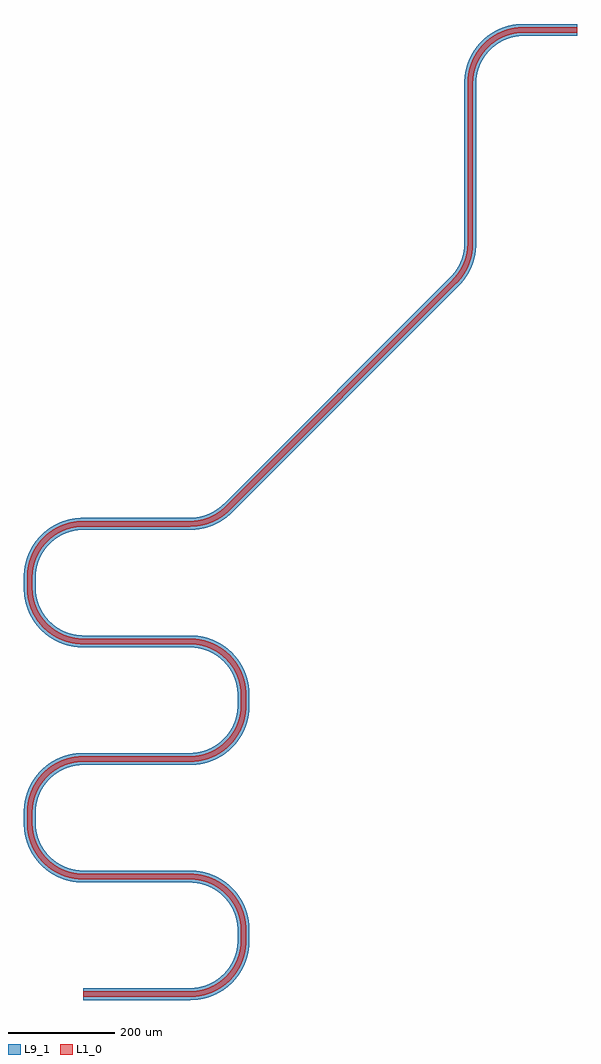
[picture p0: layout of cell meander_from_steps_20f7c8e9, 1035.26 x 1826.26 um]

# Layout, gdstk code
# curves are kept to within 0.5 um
import gdstk
lib = gdstk.Library(unit=1e-6, precision=1e-09)
def P(c, l, *ps):  # polygons
    for p in ps: c.add(gdstk.Polygon(p, *l))
L1_0 = (1, 0)
L9_1 = (9, 1)

meander_from_steps_20f7c = lib.new_cell('meander_from_steps_20f7c8e9')
P(meander_from_steps_20f7c, L1_0, [(200.264,-5),(216.321,-3.724),(231.994,-0.007),(246.914,6.063),(260.73,14.344),(273.306,24.825),(283.941,36.922),(292.602,50.503),(299.083,65.249),(303.034,79.775),(304.88,94.98),(304.88,125.02),(302.661,142.038),(298.083,157.481),(291.065,172.271),(281.833,185.791),(271.002,197.355),(258.774,207.01),(245.251,214.749),(230.733,220.402),(215.799,223.805),(200.529,224.999),(-8.359,225.368),(-23.663,227.994),(-38.115,232.981),(-51.58,240.222),(-63.709,249.529),(-77.839,249.529),(-65.378,237.837),(-50.89,228.156),(-35.249,221.093),(-18.146,216.58),(-1.057,215.005),(209.074,214.566),(224.126,211.886),(238.553,206.826),(252.181,199.386),(264.416,189.826),(272.979,180.82),(280.165,170.976),(286.032,160.293),(290.555,148.719),(293.267,138.064),(294.711,127.406),(294.827,94.264),(293.571,83.582),(291.115,73.11),(287.492,62.983),(282.864,53.539),(277.081,44.47),(270.471,36.291),(262.997,28.891),(254.555,22.226),(243.725,15.66),(231.667,10.433),(219.237,6.968),(206.452,5.219),(0,5),(0,-5)],
  [(-63.887,249.69),(-72.363,258.448),(-79.648,268.219),(-85.518,278.627),(-90.111,289.917),(-93.032,300.763),(-94.632,311.641),(-94.957,342.869),(-94.058,353.348),(-92.006,363.663),(-88.911,373.464),(-84.776,382.873),(-79.648,391.781),(-73.436,400.267),(-66.666,407.681),(-58.776,414.635),(-47.293,422.392),(-35.025,428.308),(-22.038,432.409),(-8.359,434.632),(202.643,435.033),(218.927,436.72),(234.501,440.83),(249.497,447.398),(263.078,456.059),(275.175,466.694),(285.656,479.27),(293.937,493.086),(300.007,508.006),(303.765,523.94),(305,540.003),(295,540.003),(293.571,523.582),(289.243,507.433),(282.153,492.293),(272.672,478.813),(263.532,469.369),(252.779,461.01),(241.157,454.378),(228.719,449.445),(215.239,446.23),(201.913,445.019),(-9.766,444.545),(-24.358,442.136),(-38.958,437.505),(-52.5,430.933),(-64.963,422.491),(-75.175,413.306),(-84.258,402.655),(-91.844,390.89),(-97.893,377.974),(-101.885,365.385),(-104.266,352.394),(-104.999,319.471),(-103.995,305.509),(-101.214,292.059),(-96.804,279.33),(-90.534,266.815),(-84.572,257.77),(-77.839,249.529)],
  [(305,560.003),(303.724,576.321),(299.926,592.246),(293.58,607.622),(285.195,621.375),(274.805,633.683),(262.655,644.258),(248.796,652.973),(233.751,659.428),(218.407,663.374),(202.643,664.967),(-7.644,665.308),(-20.172,667.166),(-32.791,670.839),(-44.783,676.217),(-55.53,682.919),(-69.173,694.884),(-80.421,709.428),(-88.57,725.643),(-93.444,742.876),(-94.923,756.175),(-94.957,782.869),(-93.954,794.058),(-91.575,805.28),(-87.019,818.115),(-80.926,829.76),(-73.132,840.636),(-63.887,850.31),(-77.984,850.31),(-85.195,841.375),(-91.327,831.812),(-96.284,821.885),(-100.246,811.238),(-103.034,800.225),(-104.984,781.85),(-104.96,757.093),(-103.921,744.986),(-101.885,734.615),(-98.818,724.502),(-94.749,714.749),(-89.72,705.454),(-83.941,696.922),(-77.176,688.804),(-69.628,681.406),(-61.375,674.805),(-49.497,667.398),(-36.243,661.453),(-22.296,657.394),(-8.449,655.34),(201.913,654.981),(215.239,653.77),(228.491,650.627),(244.572,643.895),(258.964,634.487),(271.425,622.638),(281.423,608.942),(288.57,594.357),(293.175,578.534),(294.88,564.781),(295,540.003),(305,540.003)],
  [(-63.709,850.471),(-51.58,859.778),(-38.115,867.019),(-23.663,872.006),(-8.836,874.588),(201.061,875.005),(216.897,876.368),(232.346,880.106),(247.291,886.252),(260.683,894.311),(273.113,904.637),(699.071,1330.582),(708.393,1341.436),(716.025,1353.225),(721.423,1364.45),(725.383,1375.98),(727.98,1387.891),(729.189,1400.288),(729.553,1711.67),(731.533,1724.904),(735.103,1737.055),(740.369,1748.836),(747.183,1759.794),(757.598,1771.945),(769.905,1782.175),(783.754,1790.194),(798.754,1795.775),(809.97,1798.183),(821.634,1799.228),(924.264,1799.264),(924.264,1809.264),(822.15,1809.243),(811.608,1808.499),(800.421,1806.521),(782.865,1800.758),(766.369,1791.861),(751.91,1780.356),(739.535,1766.281),(731.662,1753.761),(725.717,1740.507),(721.715,1726.818),(719.563,1712.186),(719.205,1400.906),(718.176,1389.924),(715.817,1378.905),(712.17,1368.242),(707.286,1358.086),(700.093,1347.036),(691.778,1337.429),(266.15,911.815),(253.921,901.785),(239.98,893.822),(224.897,888.32),(209.341,885.46),(-1.057,884.995),(-19.187,883.232),(-30.733,880.402),(-41.885,876.284),(-52.271,871.065),(-62.23,864.572),(-70.416,857.889),(-77.984,850.31)])
P(meander_from_steps_20f7c, L9_1, [(200.279,-11),(217.254,-9.651),(233.822,-5.722),(250.094,0.946),(264.428,9.612),(277.495,20.529),(288.906,33.541),(298.025,47.922),(304.837,63.527),(309.028,79.168),(310.886,94.972),(310.873,125.307),(308.469,143.57),(303.487,160.144),(296.129,175.5),(286.334,189.768),(274.647,202.152),(261.436,212.448),(246.573,220.757),(230.882,226.618),(214.765,230.014),(200.559,230.999),(-6.044,231.205),(-19.117,233.077),(-32.187,237.024),(-44.306,242.812),(-55.591,250.497),(-86.547,250.497),(-72.766,236.178),(-56.946,224.72),(-39.1,216.114),(-20.558,210.92),(-0.838,209.003),(207.831,208.655),(221.951,206.251),(235.708,201.523),(248.134,194.861),(259.852,185.869),(267.937,177.494),(274.861,168.134),(280.503,157.951),(284.836,146.905),(287.419,136.703),(288.746,126.715),(288.824,94.403),(287.622,84.398),(285.297,74.594),(281.79,64.909),(277.188,55.694),(271.685,47.253),(265.111,39.324),(257.835,32.353),(249.818,26.249),(239.364,20.178),(228.396,15.651),(216.703,12.581),(205.374,11.162),(0,11),(0,-11)],
  [(-55.765,250.637),(-64.497,258.671),(-72.213,267.978),(-78.596,278.243),(-83.53,289.28),(-86.726,300.008),(-88.503,310.608),(-89,340.224),(-88.43,350.06),(-86.726,359.992),(-83.91,369.667),(-79.921,379.163),(-75.102,387.757),(-69.222,395.94),(-62.615,403.249),(-55.064,409.921),(-44.306,417.188),(-32.605,422.813),(-20.428,426.624),(-7.831,428.655),(202.794,429.035),(220.008,430.818),(237,435.348),(252.817,442.371),(266.906,451.43),(279.86,462.906),(290.712,476.028),(299.553,490.906),(305.891,506.71),(309.694,523.022),(311,540.007),(289,540.007),(287.847,525.723),(284.42,511.817),(278.806,498.64),(271.285,486.713),(261.814,475.968),(250.926,467.01),(238.76,459.883),(225.406,454.703),(213.613,452.047),(201.344,451.01),(-10.324,450.519),(-26.021,447.907),(-41.184,443.077),(-55.5,436.129),(-68.676,427.205),(-79.86,417.094),(-89.735,405.335),(-98.025,392.078),(-104.274,378.052),(-108.288,364.388),(-110.493,350.602),(-110.684,311.625),(-108.226,295.339),(-103.283,279.336),(-95.989,264.258),(-86.547,250.497)],
  [(311,560.007),(309.694,576.978),(305.891,593.29),(299.553,609.094),(290.712,623.972),(279.86,637.094),(266.906,648.57),(252.325,657.893),(236.736,664.745),(220.008,669.182),(202.794,670.965),(-6.938,671.271),(-18.679,672.982),(-30.089,676.24),(-40.963,680.987),(-51.293,687.267),(-59.353,693.681),(-66.766,701.15),(-72.99,709.074),(-78.385,717.848),(-82.813,727.395),(-86.025,737.182),(-88.053,747.052),(-88.966,757.536),(-88.571,788.724),(-86.776,799.773),(-83.76,810.089),(-78.806,821.36),(-72.474,831.658),(-64.805,841.003),(-55.804,849.332),(-86.684,849.332),(-90.712,843.972),(-97.092,833.798),(-102.227,823.251),(-106.301,811.954),(-109.08,800.558),(-110.997,780.838),(-110.941,756.368),(-109.694,743.022),(-107.502,732.352),(-104.178,721.686),(-99.799,711.408),(-94.409,701.622),(-87.892,692.206),(-80.632,683.714),(-72.555,675.995),(-63.972,669.288),(-51.584,661.714),(-38.052,655.726),(-24.116,651.651),(-9.489,649.406),(201.344,648.99),(213.391,647.987),(224.976,645.424),(240.365,639.32),(254.357,630.472),(266.469,619.185),(276.165,606.043),(283.137,591.769),(287.419,576.703),(288.919,563.808),(289,540.007),(311,540.007)],
  [(-55.765,849.363),(-44.694,856.964),(-32.605,862.813),(-19.992,866.726),(-6.938,868.729),(200.561,869.001),(217.032,870.314),(233.927,874.312),(249.993,880.895),(264.608,889.74),(277.892,900.919),(703.345,1326.372),(713.368,1338.071),(721.54,1350.799),(727.081,1362.434),(731.311,1374.904),(733.95,1387.232),(735.195,1400.34),(735.501,1710.755),(737.153,1722.505),(740.504,1734.353),(745.251,1745.227),(751.531,1755.557),(762.129,1767.984),(774.818,1778.265),(789.585,1786.23),(805.147,1791.187),(822.92,1793.254),(924.264,1793.264),(924.264,1815.264),(821.749,1815.236),(810.053,1814.351),(798.787,1812.301),(780.242,1806.161),(763.061,1796.867),(747.573,1784.511),(734.859,1770.05),(726.635,1757.081),(720.28,1743.102),(715.915,1728.38),(713.624,1713.196),(713.216,1401.343),(712.278,1391.052),(710.035,1380.506),(706.618,1370.517),(702.042,1361.002),(695.439,1350.83),(687.514,1341.65),(262.614,916.75),(250.885,906.981),(237.862,899.455),(223.541,894.17),(208.751,891.431),(-1.397,890.991),(-12.269,890.32),(-22.75,888.644),(-40.144,883.487),(-56.946,875.28),(-71.919,864.55),(-85.091,851.278),(-86.684,849.332)])

lib.write_gds('meander_from_steps_20f7c8e9.gds')
